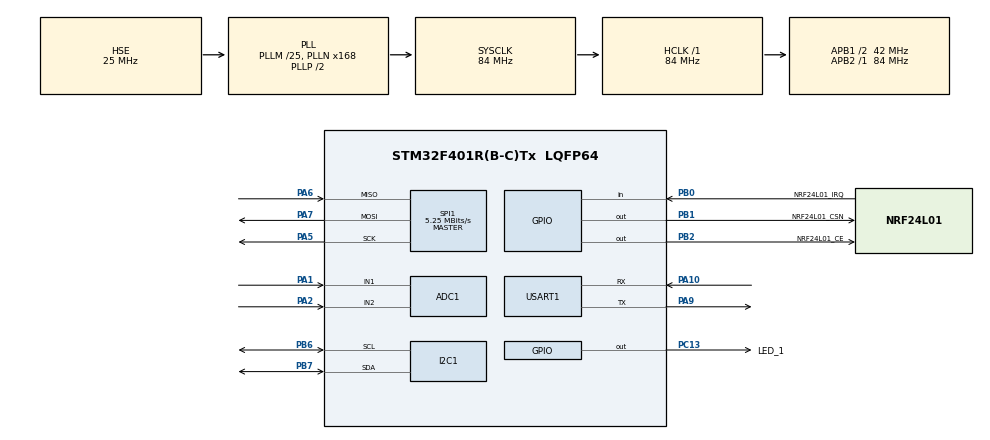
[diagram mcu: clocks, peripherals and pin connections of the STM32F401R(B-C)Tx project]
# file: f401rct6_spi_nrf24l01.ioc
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ADC1.Channel-2\#ChannelRegularConversion=ADC_CHANNEL_1
ADC1.NbrOfConversionFlag=1
ADC1.Rank-2\#ChannelRegularConversion=1
ADC1.SamplingTime-2\#ChannelRegularConversion=ADC_SAMPLETIME_3CYCLES
ADC1.master=1
Mcu.Family=STM32F4
Mcu.Name=STM32F401R(B-C)Tx
Mcu.Package=LQFP64
NVIC.PriorityGroup=NVIC_PRIORITYGROUP_4
PA1.Signal=ADCx_IN1
PA10.Mode=Asynchronous
PA10.Signal=USART1_RX
PA13.Mode=Serial_Wire
PA13.Signal=SYS_JTMS-SWDIO
PA14.Mode=Serial_Wire
PA14.Signal=SYS_JTCK-SWCLK
PA2.Signal=ADCx_IN2
PA5.Mode=Full_Duplex_Master
PA5.Signal=SPI1_SCK
PA6.Mode=Full_Duplex_Master
PA6.Signal=SPI1_MISO
PA7.Mode=Full_Duplex_Master
PA7.Signal=SPI1_MOSI
PA9.Mode=Asynchronous
PA9.Signal=USART1_TX
PB0.GPIO_Label=NRF24L01_IRQ
PB0.GPIO_PuPd=GPIO_PULLUP
PB0.Signal=GPIO_Input
PB1.GPIO_Label=NRF24L01_CSN
PB1.GPIO_Speed=GPIO_SPEED_FREQ_HIGH
PB1.PinState=GPIO_PIN_SET
PB1.Signal=GPIO_Output
PB2.GPIO_Label=NRF24L01_CE
PB2.GPIO_Speed=GPIO_SPEED_FREQ_HIGH
PB2.PinState=GPIO_PIN_SET
PB2.Signal=GPIO_Output
PB6.Mode=I2C
PB6.Signal=I2C1_SCL
PB7.Mode=I2C
PB7.Signal=I2C1_SDA
PC13-ANTI_TAMP.GPIO_Label=LED_1
PC13-ANTI_TAMP.GPIO_Speed=GPIO_SPEED_FREQ_LOW
PC13-ANTI_TAMP.PinState=GPIO_PIN_SET
PC13-ANTI_TAMP.Signal=GPIO_Output
PC14-OSC32_IN.Mode=LSE-External-Oscillator
PC14-OSC32_IN.Signal=RCC_OSC32_IN
PC15-OSC32_OUT.Mode=LSE-External-Oscillator
PC15-OSC32_OUT.Signal=RCC_OSC32_OUT
PH0\ -\ OSC_IN.Mode=HSE-External-Oscillator
PH0\ -\ OSC_IN.Signal=RCC_OSC_IN
PH1\ -\ OSC_OUT.Mode=HSE-External-Oscillator
PH1\ -\ OSC_OUT.Signal=RCC_OSC_OUT
ProjectManager.HeapSize=0x200
ProjectManager.StackSize=0x400
ProjectManager.TargetToolchain=STM32CubeIDE
RCC.48MHZClocksFreq_Value=42000000
RCC.AHBFreq_Value=84000000
RCC.APB1CLKDivider=RCC_HCLK_DIV2
RCC.APB1Freq_Value=42000000
RCC.APB1TimFreq_Value=84000000
RCC.APB2Freq_Value=84000000
RCC.APB2TimFreq_Value=84000000
RCC.CortexFreq_Value=84000000
RCC.HCLKFreq_Value=84000000
RCC.HSE_VALUE=25000000
RCC.HSI_VALUE=16000000
RCC.PLLM=25
RCC.PLLN=168
RCC.PLLSourceVirtual=RCC_PLLSOURCE_HSE
RCC.SYSCLKFreq_VALUE=84000000
RCC.SYSCLKSource=RCC_SYSCLKSOURCE_PLLCLK
RCC.VCOOutputFreq_Value=168000000
SH.ADCx_IN1.0=ADC1_IN1,IN1
SH.ADCx_IN2.0=ADC1_IN2,IN2
SPI1.BaudRatePrescaler=SPI_BAUDRATEPRESCALER_16
SPI1.CalculateBaudRate=5.25 MBits/s
SPI1.Direction=SPI_DIRECTION_2LINES
SPI1.FirstBit=SPI_FIRSTBIT_MSB
SPI1.Mode=SPI_MODE_MASTER
SPI1.VirtualType=VM_MASTER
USART1.VirtualMode=VM_ASYNC
board=custom

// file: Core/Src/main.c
/* USER CODE BEGIN Header */
/**
  ******************************************************************************
  * @file           : main.c
  * @brief          : Main program body
  ******************************************************************************
  * @attention
  *
  * Copyright (c) 2024 STMicroelectronics.
  * All rights reserved.
  *
  * This software is licensed under terms that can be found in the LICENSE file
  * in the root directory of this software component.
  * If no LICENSE file comes with this software, it is provided AS-IS.
  *
  ******************************************************************************
  */
/* USER CODE END Header */
#include "main.h"

/* USER CODE BEGIN Includes */
#include "nrf24l01.h"
/* USER CODE END Includes */

ADC_HandleTypeDef hadc1;

I2C_HandleTypeDef hi2c1;

SPI_HandleTypeDef hspi1;

UART_HandleTypeDef huart1;

void SystemClock_Config(void);
static void MX_GPIO_Init(void);
static void MX_SPI1_Init(void);
static void MX_ADC1_Init(void);
static void MX_I2C1_Init(void);
static void MX_USART1_UART_Init(void);

int main(void)
{

  /* MCU Configuration--------------------------------------------------------*/

  /* Reset of all peripherals, Initializes the Flash interface and the Systick. */
  HAL_Init();

  /* Configure the system clock */
  SystemClock_Config();

  /* Initialize all configured peripherals */
  MX_GPIO_Init();
  MX_SPI1_Init();
  MX_ADC1_Init();
  MX_I2C1_Init();
  MX_USART1_UART_Init();
  /* USER CODE BEGIN 2 */
  NRF24L01_Init();

  uint8_t isRx = 1; // switch rx/tx
  uint8_t nrf24l01Status = NRF24L01_Check();

  if (nrf24l01Status) {
	  if (isRx) {
		  NRF24L01_RxMode(46, 5);
	  } else {
		  NRF24L01_TxMode(46);
	  }
  }

  /* USER CODE END 2 */

  /* Infinite loop */
  /* USER CODE BEGIN WHILE */
  uint8_t buffer[] = {0x1,0x1,0x1,0x1,0x1};
  while (nrf24l01Status)
  {
    /* USER CODE END WHILE */

    /* USER CODE BEGIN 3 */
	  if (isRx) {
		  NRF24L01_RxPacket(buffer, 5);
	  } else {
		  for (int i=0; i < 5; ++i) {
			  buffer[i] += 1;
		  }
		  NRF24L01_TxPacket(buffer, 5);
	  }
	  HAL_GPIO_WritePin(GPIOC, GPIO_PIN_13, GPIO_PIN_SET);
	  HAL_Delay(400);
	  HAL_GPIO_WritePin(GPIOC, GPIO_PIN_13, GPIO_PIN_RESET);
	  HAL_Delay(400);
  }

  HAL_GPIO_WritePin(GPIOC, GPIO_PIN_13, GPIO_PIN_SET);
  while(1);
  /* USER CODE END 3 */
}

void SystemClock_Config(void)
{
  RCC_OscInitTypeDef RCC_OscInitStruct = {0};
  RCC_ClkInitTypeDef RCC_ClkInitStruct = {0};

  /** Configure the main internal regulator output voltage
  */
  __HAL_RCC_PWR_CLK_ENABLE();
  __HAL_PWR_VOLTAGESCALING_CONFIG(PWR_REGULATOR_VOLTAGE_SCALE2);

  /** Initializes the RCC Oscillators according to the specified parameters
  * in the RCC_OscInitTypeDef structure.
  */
  RCC_OscInitStruct.OscillatorType = RCC_OSCILLATORTYPE_HSE;
  RCC_OscInitStruct.HSEState = RCC_HSE_ON;
  RCC_OscInitStruct.PLL.PLLState = RCC_PLL_ON;
  RCC_OscInitStruct.PLL.PLLSource = RCC_PLLSOURCE_HSE;
  RCC_OscInitStruct.PLL.PLLM = 25;
  RCC_OscInitStruct.PLL.PLLN = 168;
  RCC_OscInitStruct.PLL.PLLP = RCC_PLLP_DIV2;
  RCC_OscInitStruct.PLL.PLLQ = 4;
  if (HAL_RCC_OscConfig(&RCC_OscInitStruct) != HAL_OK)
  {
    Error_Handler();
  }

  /** Initializes the CPU, AHB and APB buses clocks
  */
  RCC_ClkInitStruct.ClockType = RCC_CLOCKTYPE_HCLK|RCC_CLOCKTYPE_SYSCLK
                              |RCC_CLOCKTYPE_PCLK1|RCC_CLOCKTYPE_PCLK2;
  RCC_ClkInitStruct.SYSCLKSource = RCC_SYSCLKSOURCE_PLLCLK;
  RCC_ClkInitStruct.AHBCLKDivider = RCC_SYSCLK_DIV1;
  RCC_ClkInitStruct.APB1CLKDivider = RCC_HCLK_DIV2;
  RCC_ClkInitStruct.APB2CLKDivider = RCC_HCLK_DIV1;

  if (HAL_RCC_ClockConfig(&RCC_ClkInitStruct, FLASH_LATENCY_2) != HAL_OK)
  {
    Error_Handler();
  }
}

static void MX_ADC1_Init(void)
{

  ADC_ChannelConfTypeDef sConfig = {0};

  /** Configure the global features of the ADC (Clock, Resolution, Data Alignment and number of conversion)
  */
  hadc1.Instance = ADC1;
  hadc1.Init.ClockPrescaler = ADC_CLOCK_SYNC_PCLK_DIV4;
  hadc1.Init.Resolution = ADC_RESOLUTION_12B;
  hadc1.Init.ScanConvMode = DISABLE;
  hadc1.Init.ContinuousConvMode = DISABLE;
  hadc1.Init.DiscontinuousConvMode = DISABLE;
  hadc1.Init.ExternalTrigConvEdge = ADC_EXTERNALTRIGCONVEDGE_NONE;
  hadc1.Init.ExternalTrigConv = ADC_SOFTWARE_START;
  hadc1.Init.DataAlign = ADC_DATAALIGN_RIGHT;
  hadc1.Init.NbrOfConversion = 1;
  hadc1.Init.DMAContinuousRequests = DISABLE;
  hadc1.Init.EOCSelection = ADC_EOC_SINGLE_CONV;
  if (HAL_ADC_Init(&hadc1) != HAL_OK)
  {
    Error_Handler();
  }

  /** Configure for the selected ADC regular channel its corresponding rank in the sequencer and its sample time.
  */
  sConfig.Channel = ADC_CHANNEL_1;
  sConfig.Rank = 1;
  sConfig.SamplingTime = ADC_SAMPLETIME_3CYCLES;
  if (HAL_ADC_ConfigChannel(&hadc1, &sConfig) != HAL_OK)
  {
    Error_Handler();
  }

}

static void MX_I2C1_Init(void)
{

  hi2c1.Instance = I2C1;
  hi2c1.Init.ClockSpeed = 100000;
  hi2c1.Init.DutyCycle = I2C_DUTYCYCLE_2;
  hi2c1.Init.OwnAddress1 = 0;
  hi2c1.Init.AddressingMode = I2C_ADDRESSINGMODE_7BIT;
  hi2c1.Init.DualAddressMode = I2C_DUALADDRESS_DISABLE;
  hi2c1.Init.OwnAddress2 = 0;
  hi2c1.Init.GeneralCallMode = I2C_GENERALCALL_DISABLE;
  hi2c1.Init.NoStretchMode = I2C_NOSTRETCH_DISABLE;
  if (HAL_I2C_Init(&hi2c1) != HAL_OK)
  {
    Error_Handler();
  }

}

static void MX_SPI1_Init(void)
{

  /* SPI1 parameter configuration*/
  hspi1.Instance = SPI1;
  hspi1.Init.Mode = SPI_MODE_MASTER;
  hspi1.Init.Direction = SPI_DIRECTION_2LINES;
  hspi1.Init.DataSize = SPI_DATASIZE_8BIT;
  hspi1.Init.CLKPolarity = SPI_POLARITY_LOW;
  hspi1.Init.CLKPhase = SPI_PHASE_1EDGE;
  hspi1.Init.NSS = SPI_NSS_SOFT;
  hspi1.Init.BaudRatePrescaler = SPI_BAUDRATEPRESCALER_16;
  hspi1.Init.FirstBit = SPI_FIRSTBIT_MSB;
  hspi1.Init.TIMode = SPI_TIMODE_DISABLE;
  hspi1.Init.CRCCalculation = SPI_CRCCALCULATION_DISABLE;
  hspi1.Init.CRCPolynomial = 10;
  if (HAL_SPI_Init(&hspi1) != HAL_OK)
  {
    Error_Handler();
  }

}

static void MX_USART1_UART_Init(void)
{

  huart1.Instance = USART1;
  huart1.Init.BaudRate = 115200;
  huart1.Init.WordLength = UART_WORDLENGTH_8B;
  huart1.Init.StopBits = UART_STOPBITS_1;
  huart1.Init.Parity = UART_PARITY_NONE;
  huart1.Init.Mode = UART_MODE_TX_RX;
  huart1.Init.HwFlowCtl = UART_HWCONTROL_NONE;
  huart1.Init.OverSampling = UART_OVERSAMPLING_16;
  if (HAL_UART_Init(&huart1) != HAL_OK)
  {
    Error_Handler();
  }

}

static void MX_GPIO_Init(void)
{
  GPIO_InitTypeDef GPIO_InitStruct = {0};

  /* GPIO Ports Clock Enable */
  __HAL_RCC_GPIOC_CLK_ENABLE();
  __HAL_RCC_GPIOH_CLK_ENABLE();
  __HAL_RCC_GPIOA_CLK_ENABLE();
  __HAL_RCC_GPIOB_CLK_ENABLE();

  /*Configure GPIO pin Output Level */
  HAL_GPIO_WritePin(LED_1_GPIO_Port, LED_1_Pin, GPIO_PIN_SET);

  /*Configure GPIO pin Output Level */
  HAL_GPIO_WritePin(GPIOB, NRF24L01_CSN_Pin|NRF24L01_CE_Pin, GPIO_PIN_SET);

  /*Configure GPIO pin : LED_1_Pin */
  GPIO_InitStruct.Pin = LED_1_Pin;
  GPIO_InitStruct.Mode = GPIO_MODE_OUTPUT_PP;
  GPIO_InitStruct.Pull = GPIO_NOPULL;
  GPIO_InitStruct.Speed = GPIO_SPEED_FREQ_LOW;
  HAL_GPIO_Init(LED_1_GPIO_Port, &GPIO_InitStruct);

  /*Configure GPIO pin : NRF24L01_IRQ_Pin */
  GPIO_InitStruct.Pin = NRF24L01_IRQ_Pin;
  GPIO_InitStruct.Mode = GPIO_MODE_INPUT;
  GPIO_InitStruct.Pull = GPIO_PULLUP;
  HAL_GPIO_Init(NRF24L01_IRQ_GPIO_Port, &GPIO_InitStruct);

  /*Configure GPIO pins : NRF24L01_CSN_Pin NRF24L01_CE_Pin */
  GPIO_InitStruct.Pin = NRF24L01_CSN_Pin|NRF24L01_CE_Pin;
  GPIO_InitStruct.Mode = GPIO_MODE_OUTPUT_PP;
  GPIO_InitStruct.Pull = GPIO_NOPULL;
  GPIO_InitStruct.Speed = GPIO_SPEED_FREQ_HIGH;
  HAL_GPIO_Init(GPIOB, &GPIO_InitStruct);

}

void Error_Handler(void)
{
  __disable_irq();
  while (1)
  {
  }
}
